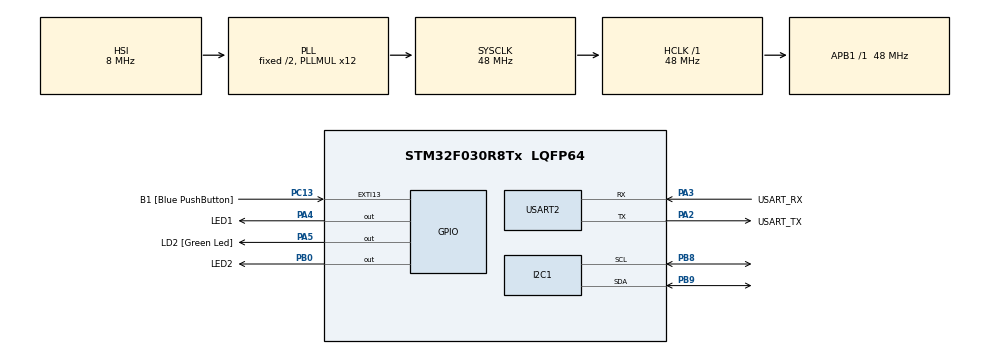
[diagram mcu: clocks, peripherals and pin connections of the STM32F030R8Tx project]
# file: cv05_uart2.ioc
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Dma.Request0=USART2_RX
Dma.USART2_RX.0.Direction=DMA_PERIPH_TO_MEMORY
Dma.USART2_RX.0.Instance=DMA1_Channel5
Dma.USART2_RX.0.MemDataAlignment=DMA_MDATAALIGN_BYTE
Dma.USART2_RX.0.MemInc=DMA_MINC_ENABLE
Dma.USART2_RX.0.Mode=DMA_CIRCULAR
Dma.USART2_RX.0.PeriphDataAlignment=DMA_PDATAALIGN_BYTE
Dma.USART2_RX.0.PeriphInc=DMA_PINC_DISABLE
Dma.USART2_RX.0.Priority=DMA_PRIORITY_LOW
Mcu.Family=STM32F0
Mcu.Name=STM32F030R8Tx
Mcu.Package=LQFP64
NVIC.DMA1_Channel4_5_IRQn=true\:0\:0\:false\:false\:true\:false\:true\:true
PA13.GPIO_Label=TMS
PA13.Mode=Serial_Wire
PA13.Signal=SYS_SWDIO
PA14.GPIO_Label=TCK
PA14.Mode=Serial_Wire
PA14.Signal=SYS_SWCLK
PA2.GPIO_Label=USART_TX
PA2.GPIO_Mode=GPIO_MODE_AF_PP
PA2.GPIO_PuPd=GPIO_NOPULL
PA2.GPIO_Speed=GPIO_SPEED_FREQ_LOW
PA2.Mode=Asynchronous
PA2.Signal=USART2_TX
PA3.GPIO_Label=USART_RX
PA3.GPIO_Mode=GPIO_MODE_AF_PP
PA3.GPIO_PuPd=GPIO_NOPULL
PA3.GPIO_Speed=GPIO_SPEED_FREQ_LOW
PA3.Mode=Asynchronous
PA3.Signal=USART2_RX
PA4.GPIO_Label=LED1
PA4.Signal=GPIO_Output
PA5.GPIO_Label=LD2 [Green Led]
PA5.GPIO_Mode=GPIO_MODE_OUTPUT_PP
PA5.GPIO_PuPd=GPIO_NOPULL
PA5.GPIO_Speed=GPIO_SPEED_FREQ_LOW
PA5.Signal=GPIO_Output
PB0.GPIO_Label=LED2
PB0.Signal=GPIO_Output
PB8.Mode=I2C
PB8.Signal=I2C1_SCL
PB9.Mode=I2C
PB9.Signal=I2C1_SDA
PC13.GPIO_Label=B1 [Blue PushButton]
PC13.GPIO_ModeDefaultEXTI=GPIO_MODE_IT_FALLING
PC13.Signal=GPXTI13
PC14-OSC32_IN.Mode=LSE-External-Oscillator
PC14-OSC32_IN.Signal=RCC_OSC32_IN
PC15-OSC32_OUT.Mode=LSE-External-Oscillator
PC15-OSC32_OUT.Signal=RCC_OSC32_OUT
PF0-OSC_IN.Mode=HSE-External-Clock-Source
PF0-OSC_IN.Signal=RCC_OSC_IN
PF1-OSC_OUT.Signal=RCC_OSC_OUT
ProjectManager.HeapSize=0x200
ProjectManager.StackSize=0x400
ProjectManager.TargetToolchain=STM32CubeIDE
RCC.AHBFreq_Value=48000000
RCC.APB1Freq_Value=48000000
RCC.APB1TimFreq_Value=48000000
RCC.HCLKFreq_Value=48000000
RCC.PLLMUL=RCC_PLL_MUL12
RCC.SYSCLKFreq_VALUE=48000000
RCC.SYSCLKSource=RCC_SYSCLKSOURCE_PLLCLK
USART2.VirtualMode-Asynchronous=VM_ASYNC
board=NUCLEO-F030R8

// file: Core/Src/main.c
/* USER CODE BEGIN Header */
/**
  ******************************************************************************
  * @file           : main.c
  * @brief          : Main program body
  ******************************************************************************
  * @attention
  *
  * Copyright (c) 2023 STMicroelectronics.
  * All rights reserved.
  *
  * This software is licensed under terms that can be found in the LICENSE file
  * in the root directory of this software component.
  * If no LICENSE file comes with this software, it is provided AS-IS.
  *
  ******************************************************************************
  */
/* USER CODE END Header */
#include "main.h"

/* USER CODE BEGIN Includes */
#include <stdio.h>
#include <string.h>
#include <stdlib.h>
/* USER CODE END Includes */

/* USER CODE BEGIN PD */
#define RX_BUFFER_LEN 64
#define CMD_BUFFER_LEN 256
#define EEPROM_ADDR 0xA0
#define uart_rx_write_ptr (RX_BUFFER_LEN - hdma_usart2_rx.Instance->CNDTR)
/* USER CODE END PD */

I2C_HandleTypeDef hi2c1;

UART_HandleTypeDef huart2;
DMA_HandleTypeDef hdma_usart2_rx;

/* USER CODE BEGIN PV */
static uint8_t uart_rx_buf[RX_BUFFER_LEN];
static volatile uint16_t uart_rx_read_ptr = 0;
/* USER CODE END PV */

void SystemClock_Config(void);
static void MX_GPIO_Init(void);
static void MX_DMA_Init(void);
static void MX_USART2_UART_Init(void);
static void MX_I2C1_Init(void);

/* USER CODE BEGIN 0 */
int _write(int file, char const *buf, int n)
{
	/* stdout redirection to UART2 */
	HAL_UART_Transmit(&huart2, (uint8_t*)(buf), n, HAL_MAX_DELAY);
	return n;
}

static void uart_process_command(char *cmd) {
	char *token;
	token = strtok(cmd, " ");

	// ------------------------- HELLO -------------------------
	if (strcasecmp(token, "HELLO") == 0) { // string case insensitive compare - 0 = are same, other = are different
		printf("Komunikace OK\n");

	// ------------------------- LED 1 -------------------------
	} else if (strcasecmp(token, "LED1") == 0) {
	token = strtok(NULL, " ");
	if (strcasecmp(token, "ON") == 0) {
		HAL_GPIO_WritePin(LED1_GPIO_Port, LED1_Pin, 1);
	} else if (strcasecmp(token, "OFF") == 0) {
		HAL_GPIO_WritePin(LED1_GPIO_Port, LED1_Pin, 0);
	}
	printf("OK\n");

	// ------------------------- LED 2 -------------------------
	} else if (strcasecmp(token, "LED2") == 0) {
		token = strtok(NULL, " ");
		if (strcasecmp(token, "ON") == 0) {
			HAL_GPIO_WritePin(LED2_GPIO_Port, LED2_Pin, 1);
		} else if (strcasecmp(token, "OFF") == 0) {
			HAL_GPIO_WritePin(LED2_GPIO_Port, LED2_Pin, 0);
		}
		printf("OK\n");

	// ------------------------- STATUS -------------------------
    } else if (strcasecmp(token, "STATUS") == 0) {
    	switch (HAL_GPIO_ReadPin(LED1_GPIO_Port, LED1_Pin)) {
    	case 0:
    		printf("LED1: OFF\n");
    		break;
    	case 1:
    		printf("LED1: ON\n");
    		break;
    	}
    	switch (HAL_GPIO_ReadPin(LED2_GPIO_Port, LED2_Pin)) {
    	case 0:
    		printf("LED2: OFF\n");
    		break;
    	case 1:
    		printf("LED2: ON\n");
    		break;
    	}

	// ------------------------- READ -------------------------
		} else if (strcasecmp(token, "READ") == 0) {
			token = strtok(NULL, " ");

			uint16_t addr = atoi(token);
			uint8_t value;

			HAL_I2C_Mem_Read(&hi2c1, EEPROM_ADDR, addr, I2C_MEMADD_SIZE_16BIT, &value, 1, 1000);
			printf("Reading value 0x%02X @ 0x%02X\n", value, addr);

	// ------------------------- WRITE -------------------------
		} else if (strcasecmp(token, "WRITE") == 0) {
			token = strtok(NULL, " ");
			uint16_t addr = atoi(token);
			token = strtok(NULL, " ");
			uint8_t value = atoi(token);

			HAL_I2C_Mem_Write(&hi2c1, EEPROM_ADDR, addr, I2C_MEMADD_SIZE_16BIT, &value, 1, 1000);
			while (HAL_I2C_IsDeviceReady(&hi2c1, EEPROM_ADDR, 300, 1000) == HAL_TIMEOUT) {}
			printf("Writting value 0x%02X @ 0x%02X\n", value, addr);

	// ------------------------- DUMP -------------------------
		} else if (strcasecmp(token, "DUMP") == 0) {
			uint8_t value[16];
			for(uint16_t addr = 0x0000; addr < 16; addr++) {
				HAL_I2C_Mem_Read(&hi2c1, EEPROM_ADDR, addr, I2C_MEMADD_SIZE_16BIT, &(value[addr]), 1, 1000);
				printf("%02X ", value[addr]);
				if((addr + 1) % 8 == 0) {
					printf("\n");
				}
			}
		}
}

static void uart_byte_available(uint8_t c) {

	static uint16_t cnt;
	static char data[CMD_BUFFER_LEN];

	if (cnt < CMD_BUFFER_LEN && c >= 32 && c <= 126) data[cnt++] = c; // ASCII table control, all printable characters

	if ((c == '\n' || c == '\r') && cnt > 0) {
		data[cnt] = '\0';
		uart_process_command(data);
		cnt = 0;
	}
}
/* USER CODE END 0 */

int main(void)
{

  /* MCU Configuration--------------------------------------------------------*/

  /* Reset of all peripherals, Initializes the Flash interface and the Systick. */
  HAL_Init();

  /* Configure the system clock */
  SystemClock_Config();

  /* Initialize all configured peripherals */
  MX_GPIO_Init();
  MX_DMA_Init();
  MX_USART2_UART_Init();
  MX_I2C1_Init();

  /* Infinite loop */
  /* USER CODE BEGIN WHILE */

  HAL_UART_Receive_DMA(&huart2, uart_rx_buf, RX_BUFFER_LEN);
  while (1)
  {
	  /*
	  uint8_t c;
	  HAL_UART_Receive(&huart2, &c, 1, HAL_MAX_DELAY);
	  HAL_UART_Transmit(&huart2, &c, 1, HAL_MAX_DELAY);
	  */

	  while (uart_rx_read_ptr != uart_rx_write_ptr) {
		  uint8_t b = uart_rx_buf[uart_rx_read_ptr];

		  if (++uart_rx_read_ptr >= RX_BUFFER_LEN) uart_rx_read_ptr = 0; // increase read pointer
		  uart_byte_available(b); // process every received byte with the RX state machine
	  }

    /* USER CODE END WHILE */

  }
}

void SystemClock_Config(void)
{
  RCC_OscInitTypeDef RCC_OscInitStruct = {0};
  RCC_ClkInitTypeDef RCC_ClkInitStruct = {0};
  RCC_PeriphCLKInitTypeDef PeriphClkInit = {0};

  /** Initializes the RCC Oscillators according to the specified parameters
  * in the RCC_OscInitTypeDef structure.
  */
  RCC_OscInitStruct.OscillatorType = RCC_OSCILLATORTYPE_HSI;
  RCC_OscInitStruct.HSIState = RCC_HSI_ON;
  RCC_OscInitStruct.HSICalibrationValue = RCC_HSICALIBRATION_DEFAULT;
  RCC_OscInitStruct.PLL.PLLState = RCC_PLL_ON;
  RCC_OscInitStruct.PLL.PLLSource = RCC_PLLSOURCE_HSI;
  RCC_OscInitStruct.PLL.PLLMUL = RCC_PLL_MUL12;
  RCC_OscInitStruct.PLL.PREDIV = RCC_PREDIV_DIV1;
  if (HAL_RCC_OscConfig(&RCC_OscInitStruct) != HAL_OK)
  {
    Error_Handler();
  }

  /** Initializes the CPU, AHB and APB buses clocks
  */
  RCC_ClkInitStruct.ClockType = RCC_CLOCKTYPE_HCLK|RCC_CLOCKTYPE_SYSCLK
                              |RCC_CLOCKTYPE_PCLK1;
  RCC_ClkInitStruct.SYSCLKSource = RCC_SYSCLKSOURCE_PLLCLK;
  RCC_ClkInitStruct.AHBCLKDivider = RCC_SYSCLK_DIV1;
  RCC_ClkInitStruct.APB1CLKDivider = RCC_HCLK_DIV1;

  if (HAL_RCC_ClockConfig(&RCC_ClkInitStruct, FLASH_LATENCY_1) != HAL_OK)
  {
    Error_Handler();
  }
  PeriphClkInit.PeriphClockSelection = RCC_PERIPHCLK_I2C1;
  PeriphClkInit.I2c1ClockSelection = RCC_I2C1CLKSOURCE_HSI;
  if (HAL_RCCEx_PeriphCLKConfig(&PeriphClkInit) != HAL_OK)
  {
    Error_Handler();
  }
}

static void MX_I2C1_Init(void)
{

  hi2c1.Instance = I2C1;
  hi2c1.Init.Timing = 0x2000090E;
  hi2c1.Init.OwnAddress1 = 0;
  hi2c1.Init.AddressingMode = I2C_ADDRESSINGMODE_7BIT;
  hi2c1.Init.DualAddressMode = I2C_DUALADDRESS_DISABLE;
  hi2c1.Init.OwnAddress2 = 0;
  hi2c1.Init.OwnAddress2Masks = I2C_OA2_NOMASK;
  hi2c1.Init.GeneralCallMode = I2C_GENERALCALL_DISABLE;
  hi2c1.Init.NoStretchMode = I2C_NOSTRETCH_DISABLE;
  if (HAL_I2C_Init(&hi2c1) != HAL_OK)
  {
    Error_Handler();
  }

  /** Configure Analogue filter
  */
  if (HAL_I2CEx_ConfigAnalogFilter(&hi2c1, I2C_ANALOGFILTER_ENABLE) != HAL_OK)
  {
    Error_Handler();
  }

  /** Configure Digital filter
  */
  if (HAL_I2CEx_ConfigDigitalFilter(&hi2c1, 0) != HAL_OK)
  {
    Error_Handler();
  }

}

static void MX_USART2_UART_Init(void)
{

  huart2.Instance = USART2;
  huart2.Init.BaudRate = 38400;
  huart2.Init.WordLength = UART_WORDLENGTH_8B;
  huart2.Init.StopBits = UART_STOPBITS_1;
  huart2.Init.Parity = UART_PARITY_NONE;
  huart2.Init.Mode = UART_MODE_TX_RX;
  huart2.Init.HwFlowCtl = UART_HWCONTROL_NONE;
  huart2.Init.OverSampling = UART_OVERSAMPLING_16;
  huart2.Init.OneBitSampling = UART_ONE_BIT_SAMPLE_DISABLE;
  huart2.AdvancedInit.AdvFeatureInit = UART_ADVFEATURE_NO_INIT;
  if (HAL_UART_Init(&huart2) != HAL_OK)
  {
    Error_Handler();
  }

}

static void MX_DMA_Init(void)
{

  /* DMA controller clock enable */
  __HAL_RCC_DMA1_CLK_ENABLE();

  /* DMA interrupt init */
  /* DMA1_Channel4_5_IRQn interrupt configuration */
  HAL_NVIC_SetPriority(DMA1_Channel4_5_IRQn, 0, 0);
  HAL_NVIC_EnableIRQ(DMA1_Channel4_5_IRQn);

}

static void MX_GPIO_Init(void)
{
  GPIO_InitTypeDef GPIO_InitStruct = {0};

  /* GPIO Ports Clock Enable */
  __HAL_RCC_GPIOC_CLK_ENABLE();
  __HAL_RCC_GPIOF_CLK_ENABLE();
  __HAL_RCC_GPIOA_CLK_ENABLE();
  __HAL_RCC_GPIOB_CLK_ENABLE();

  /*Configure GPIO pin Output Level */
  HAL_GPIO_WritePin(GPIOA, LED1_Pin|LD2_Pin, GPIO_PIN_RESET);

  /*Configure GPIO pin Output Level */
  HAL_GPIO_WritePin(LED2_GPIO_Port, LED2_Pin, GPIO_PIN_RESET);

  /*Configure GPIO pin : B1_Pin */
  GPIO_InitStruct.Pin = B1_Pin;
  GPIO_InitStruct.Mode = GPIO_MODE_IT_FALLING;
  GPIO_InitStruct.Pull = GPIO_NOPULL;
  HAL_GPIO_Init(B1_GPIO_Port, &GPIO_InitStruct);

  /*Configure GPIO pins : LED1_Pin LD2_Pin */
  GPIO_InitStruct.Pin = LED1_Pin|LD2_Pin;
  GPIO_InitStruct.Mode = GPIO_MODE_OUTPUT_PP;
  GPIO_InitStruct.Pull = GPIO_NOPULL;
  GPIO_InitStruct.Speed = GPIO_SPEED_FREQ_LOW;
  HAL_GPIO_Init(GPIOA, &GPIO_InitStruct);

  /*Configure GPIO pin : LED2_Pin */
  GPIO_InitStruct.Pin = LED2_Pin;
  GPIO_InitStruct.Mode = GPIO_MODE_OUTPUT_PP;
  GPIO_InitStruct.Pull = GPIO_NOPULL;
  GPIO_InitStruct.Speed = GPIO_SPEED_FREQ_LOW;
  HAL_GPIO_Init(LED2_GPIO_Port, &GPIO_InitStruct);

}

void Error_Handler(void)
{
  __disable_irq();
  while (1)
  {
  }
}
